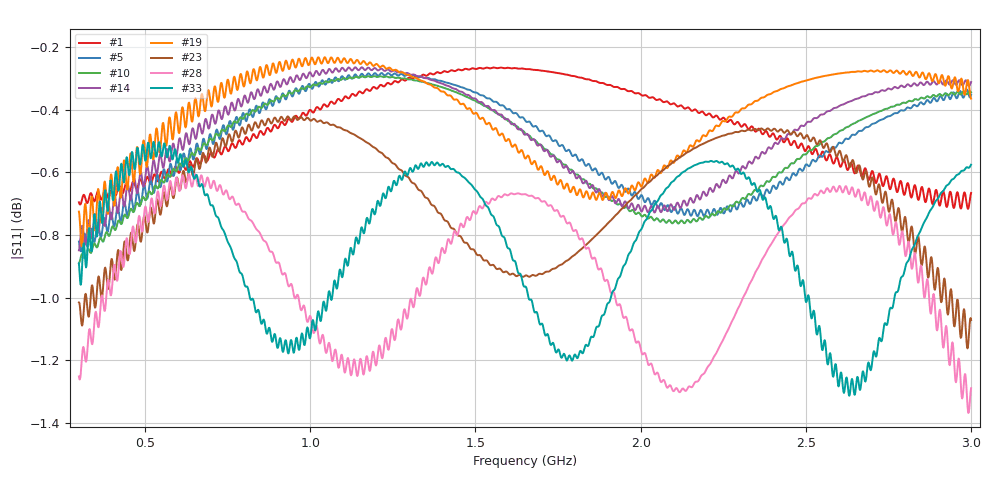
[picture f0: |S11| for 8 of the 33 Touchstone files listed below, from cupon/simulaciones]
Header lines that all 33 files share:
! Chirptenna · simulación 3D de un stub abierto
# HZ S RI R 50
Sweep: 300 MHz to 3 GHz
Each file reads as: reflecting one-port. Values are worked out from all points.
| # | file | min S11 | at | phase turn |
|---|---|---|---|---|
| 1 | stub_35.7_er4.200_tan0.02.s1p | -0.7 dB | 2.991 GHz | -436 deg |
| 2 | stub_35.7_er4.500_tan0.02.s1p | -0.7 dB | 300 MHz | -457 deg |
| 3 | stub_35.7_er4.800_tan0.02.s1p | -0.8 dB | 310.8 MHz | -475 deg |
| 4 | stub_43_er4.500_tan0.02.s1p | -0.9 dB | 300 MHz | -554 deg |
| 5 | stub_43_er4.500_tan0.02_mu2.2_0_2_24.s1p | -0.9 dB | 306.8 MHz | -566 deg |
| 6 | stub_43_er4.500_tan0.02_mu2.2_0_3_24.s1p | -0.9 dB | 316.2 MHz | -567 deg |
| 7 | stub_43_er4.500_tan0.02_mu2.2_0_4_24.s1p | -0.9 dB | 308.1 MHz | -567 deg |
| 8 | stub_43_er4.500_tan0.02_mu2.8_0.02_3_24.s1p | -1.0 dB | 305.4 MHz | -572 deg |
| 9 | stub_43_er4.500_tan0.02_mu2.8_0.05_3_24.s1p | -1.3 dB | 309.4 MHz | -572 deg |
| 10 | stub_43_er4.500_tan0.02_mu2.8_0.005_3_24.s1p | -0.9 dB | 300 MHz | -572 deg |
| 11 | stub_43_er4.500_tan0.02_mu2.8_0_2_24.s1p | -0.8 dB | 314.9 MHz | -571 deg |
| 12 | stub_43_er4.500_tan0.02_mu2.8_0_3_24.s1p | -0.9 dB | 301.4 MHz | -572 deg |
| 13 | stub_43_er4.500_tan0.02_mu2.8_0_4_24.s1p | -0.9 dB | 313.5 MHz | -573 deg |
| 14 | stub_43_er4.500_tan0.02_mu4_0_2_24.s1p | -0.8 dB | 300 MHz | -579 deg |
| 15 | stub_43_er4.500_tan0.02_mu4_0_3_24.s1p | -0.8 dB | 310.8 MHz | -581 deg |
| 16 | stub_43_er4.500_tan0.02_mu4_0_4_24.s1p | -0.8 dB | 302.7 MHz | -582 deg |
| 17 | stub_43_er4.500_tan0.02_mu6_0_2_24.s1p | -0.8 dB | 309.4 MHz | -591 deg |
| 18 | stub_43_er4.500_tan0.02_mu6_0_3_24.s1p | -0.8 dB | 305.4 MHz | -594 deg |
| 19 | stub_43_er4.500_tan0.02_mu6_0_4_24.s1p | -0.8 dB | 309.4 MHz | -597 deg |
| 20 | stub_43_er4.500_tan0.02_mu10_0_2_24.s1p | -0.8 dB | 301.4 MHz | -615 deg |
| 21 | stub_43_er4.500_tan0.02_mu10_0_3_24.s1p | -0.9 dB | 305.4 MHz | -627 deg |
| 22 | stub_43_er4.500_tan0.02_mu10_0_4_24.s1p | -0.8 dB | 306.8 MHz | -636 deg |
| 23 | stub_59_er4.500_tan0.02.s1p | -1.2 dB | 2.989 GHz | -721 deg |
| 24 | stub_59_er4.500_tan0.02_mu2.8_0_3_24.s1p | -1.1 dB | 2.888 GHz | -787 deg |
| 25 | stub_59_er4.500_tan0.02_mu4_0_4_24.s1p | -1.0 dB | 2.756 GHz | -824 deg |
| 26 | stub_59_er4.500_tan0.02_mu6_0_2_24.s1p | -1.0 dB | 2.653 GHz | -846 deg |
| 27 | stub_85.7_er4.200_tan0.02.s1p | -1.3 dB | 2.205 GHz | -1004 deg |
| 28 | stub_85.7_er4.500_tan0.02.s1p | -1.4 dB | 2.992 GHz | -1045 deg |
| 29 | stub_85.7_er4.800_tan0.02.s1p | -1.4 dB | 2.97 GHz | -1092 deg |
| 30 | stub_86_er4.500_tan0.02.s1p | -1.4 dB | 3 GHz | -1051 deg |
| 31 | stub_86_er4.500_tan0.02_mu2.8_0_3_24.s1p | -1.4 dB | 2.852 GHz | -1144 deg |
| 32 | stub_86_er4.500_tan0.02_mu4_0_4_24.s1p | -1.3 dB | 2.723 GHz | -1185 deg |
| 33 | stub_86_er4.500_tan0.02_mu6_0_2_24.s1p | -1.3 dB | 2.631 GHz | -1206 deg |
